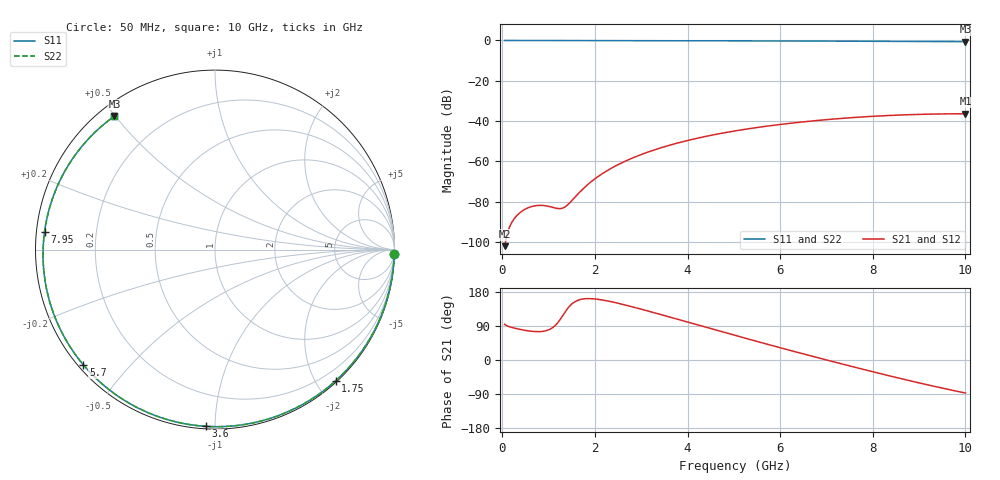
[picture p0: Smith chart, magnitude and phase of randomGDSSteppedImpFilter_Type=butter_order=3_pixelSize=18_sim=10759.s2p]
! freq	dB(S11)	phase(S11)	dB(S12)	phase(S12)
!  dB(S21)	phase(S21)	dB(S22)	phase(S22)
!S-par simulation data
#  GHz  S  DB  R 50
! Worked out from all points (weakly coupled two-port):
!   200 points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, 50 MHz to 10 GHz, reference 50 ohm
!   highest |S21| = -36.39 dB at 10 GHz (marker M1); lowest = -102.2 dB at 50 MHz (marker M2)
!   lowest |S11| = -0.6 dB at 10 GHz (marker M3), VSWR 27.99, Z = 2.23 + j24.9 ohm
!   |S11| at or under -10 dB: nowhere
!   |S22| runs from -0.6 to 0.0 dB; largest |S21 - S12| = 0
!   S11 on the Smith chart (normalised r, x): 50 MHz: 1, -85; 1.75 GHz: 0.02, -2.28; 3.6 GHz: 0.01, -0.95; 5.7 GHz: 0.01, -0.38; 7.95 GHz: 0.02, +0.05; 10 GHz: 0.04, +0.50
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0.05  -0.00 -1.3  -102.16 94.2  -102.16 94.2  -0.00 -1.3
0.4  -0.02 -11.0  -85.18 80.3  -85.18 80.3  -0.02 -11.0
0.75  -0.03 -20.7  -81.99 74.8  -81.99 74.8  -0.03 -20.7
1.45  -0.05 -39.5  -80.79 141.8  -80.79 141.8  -0.05 -39.5
1.5  -0.05 -40.9  -79.58 147.8  -79.58 147.8  -0.05 -40.9
1.75  -0.06 -47.4  -73.56 161.2  -73.56 161.2  -0.06 -47.4
2.05  -0.07 -55.2  -67.87 160.4  -67.87 160.4  -0.07 -55.2
2.45  -0.08 -65.3  -62.27 151.2  -62.27 151.2  -0.08 -65.3
2.9  -0.10 -76.4  -57.54 137.4  -57.54 137.4  -0.10 -76.3
3.4  -0.11 -88.3  -53.48 120.7  -53.48 120.7  -0.11 -88.3
3.6  -0.12 -92.9  -52.11 113.9  -52.11 113.9  -0.12 -92.9
4.3  -0.15 -108.8  -48.10 89.8  -48.10 89.8  -0.15 -108.8
5.05  -0.18 -125.1  -44.83 64.1  -44.83 64.1  -0.18 -125.1
5.7  -0.22 -138.8  -42.60 42.3  -42.60 42.3  -0.22 -138.8
6.2  -0.26 -149.2  -41.18 25.8  -41.18 25.8  -0.26 -149.2
6.7  -0.29 -159.6  -39.97 9.7  -39.97 9.7  -0.29 -159.6
7.35  -0.35 -173.2  -38.67 -10.9  -38.67 -10.9  -0.35 -173.2
7.95  -0.40 174.1  -37.74 -29.5  -37.74 -29.5  -0.40 174.1
8.35  -0.44 165.4  -37.26 -41.6  -37.26 -41.6  -0.44 165.4
9.15  -0.53 147.3  -36.63 -64.6  -36.63 -64.6  -0.53 147.4
9.55  -0.57 137.9  -36.47 -75.5  -36.47 -75.5  -0.57 137.9
10  -0.62 127.0  -36.39 -87.1  -36.39 -87.1  -0.62 127.0
